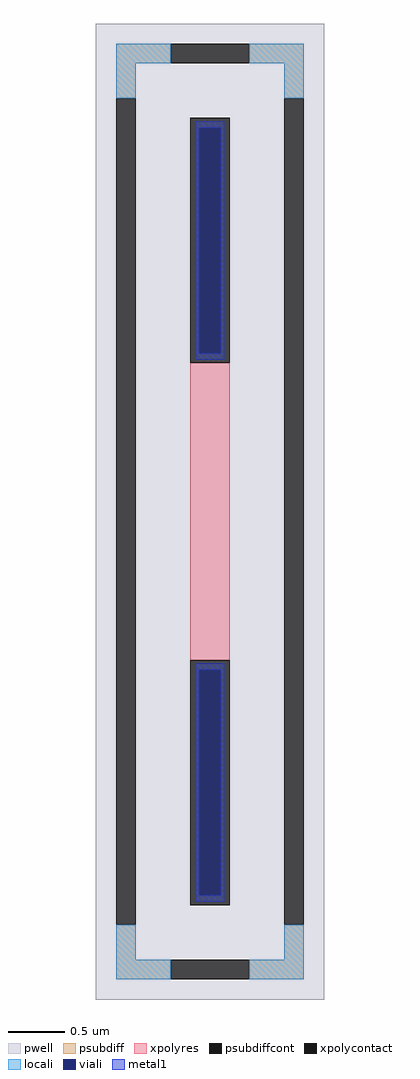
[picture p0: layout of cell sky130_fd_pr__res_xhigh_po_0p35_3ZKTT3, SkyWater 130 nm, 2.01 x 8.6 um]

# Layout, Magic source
magic
tech sky130A
magscale 1 2
<< pwell >>
rect -201 -860 201 860
<< psubdiff >>
rect -165 790 -69 824
rect 69 790 165 824
rect -165 728 -131 790
rect 131 728 165 790
rect -165 -790 -131 -728
rect 131 -790 165 -728
rect -165 -824 -69 -790
rect 69 -824 165 -790
<< psubdiffcont >>
rect -69 790 69 824
rect -165 -728 -131 728
rect 131 -728 165 728
rect -69 -824 69 -790
<< xpolycontact >>
rect -35 262 35 694
rect -35 -694 35 -262
<< xpolyres >>
rect -35 -262 35 262
<< locali >>
rect -165 790 -69 824
rect 69 790 165 824
rect -165 728 -131 790
rect 131 728 165 790
rect -165 -790 -131 -728
rect 131 -790 165 -728
rect -165 -824 -69 -790
rect 69 -824 165 -790
<< viali >>
rect -19 279 19 676
rect -19 -676 19 -279
<< metal1 >>
rect -25 676 25 688
rect -25 279 -19 676
rect 19 279 25 676
rect -25 267 25 279
rect -25 -279 25 -267
rect -25 -676 -19 -279
rect 19 -676 25 -279
rect -25 -688 25 -676
<< properties >>
string FIXED_BBOX -148 -807 148 807
string gencell sky130_fd_pr__res_xhigh_po_0p35
string library sky130
string parameters w 0.350 l 2.62 m 1 nx 1 wmin 0.350 lmin 0.50 rho 2000 val 16.046k dummy 0 dw 0.0 term 188.2 sterm 0.0 caplen 0 wmax 0.350 guard 1 glc 1 grc 1 gtc 1 gbc 1 compatible {sky130_fd_pr__res_xhigh_po_0p35  sky130_fd_pr__res_xhigh_po_0p69 sky130_fd_pr__res_xhigh_po_1p41  sky130_fd_pr__res_xhigh_po_2p85 sky130_fd_pr__res_xhigh_po_5p73} snake 0 full_metal 1 n_guard 0 hv_guard 0 vias 1 viagb 0 viagt 0 viagl 0 viagr 0
<< end >>
